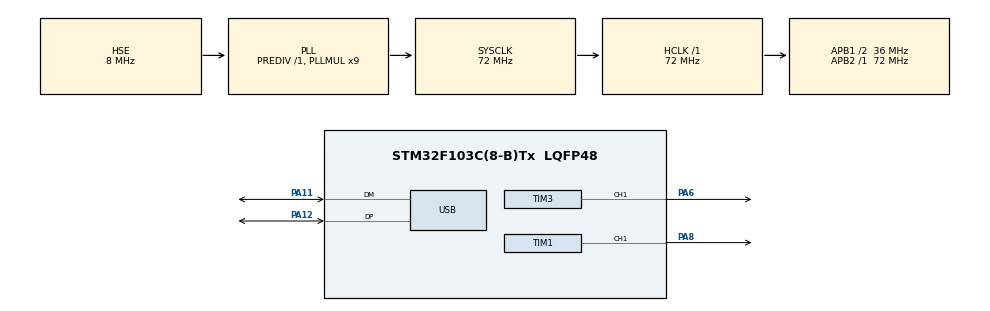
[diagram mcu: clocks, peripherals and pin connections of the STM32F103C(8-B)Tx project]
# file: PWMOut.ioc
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FREERTOS.Tasks01=defaultTask,24,128,StartDefaultTask,Default,NULL,Dynamic,NULL,NULL
Mcu.Family=STM32F1
Mcu.Name=STM32F103C(8-B)Tx
Mcu.Package=LQFP48
NVIC.PriorityGroup=NVIC_PRIORITYGROUP_4
NVIC.TIM2_IRQn=true\:0\:0\:false\:false\:true\:false\:false\:true
NVIC.TimeBase=TIM2_IRQn
NVIC.TimeBaseIP=TIM2
NVIC.USB_LP_CAN1_RX0_IRQn=true\:5\:0\:false\:false\:true\:true\:false\:true
PA11.Mode=Device
PA11.Signal=USB_DM
PA12.Mode=Device
PA12.Signal=USB_DP
PA13.Mode=Serial_Wire
PA13.Signal=SYS_JTMS-SWDIO
PA14.Mode=Serial_Wire
PA14.Signal=SYS_JTCK-SWCLK
PA6.Signal=S_TIM3_CH1
PA8.Signal=S_TIM1_CH1
PD0-OSC_IN.Mode=HSE-External-Oscillator
PD0-OSC_IN.Signal=RCC_OSC_IN
PD1-OSC_OUT.Mode=HSE-External-Oscillator
PD1-OSC_OUT.Signal=RCC_OSC_OUT
ProjectManager.HeapSize=0x200
ProjectManager.StackSize=0x400
ProjectManager.TargetToolchain=Makefile
RCC.AHBFreq_Value=72000000
RCC.APB1CLKDivider=RCC_HCLK_DIV2
RCC.APB1Freq_Value=36000000
RCC.APB1TimFreq_Value=72000000
RCC.APB2Freq_Value=72000000
RCC.APB2TimFreq_Value=72000000
RCC.HCLKFreq_Value=72000000
RCC.PLLMUL=RCC_PLL_MUL9
RCC.PLLSourceVirtual=RCC_PLLSOURCE_HSE
RCC.SYSCLKFreq_VALUE=72000000
RCC.SYSCLKSource=RCC_SYSCLKSOURCE_PLLCLK
RCC.USBFreq_Value=48000000
RCC.USBPrescaler=RCC_USBCLKSOURCE_PLL_DIV1_5
SH.S_TIM1_CH1.0=TIM1_CH1,PWM Generation1 CH1
SH.S_TIM3_CH1.0=TIM3_CH1,PWM Generation1 CH1
TIM1.Channel-PWM\ Generation1\ CH1=TIM_CHANNEL_1
TIM1.Period=80
TIM1.Prescaler=0
TIM1.Pulse-PWM\ Generation1\ CH1=27
TIM3.Channel-PWM\ Generation1\ CH1=TIM_CHANNEL_1
USB_DEVICE.CLASS_NAME_FS=CDC
USB_DEVICE.VirtualMode=Cdc
USB_DEVICE.VirtualModeFS=Cdc_FS
VP_FREERTOS_VS_CMSIS_V2.Mode=CMSIS_V2
VP_SYS_VS_tim2.Mode=TIM2
VP_TIM1_VS_ClockSourceINT.Mode=Internal
VP_TIM3_VS_ClockSourceINT.Mode=Internal
VP_USB_DEVICE_VS_USB_DEVICE_CDC_FS.Mode=CDC_FS
board=custom

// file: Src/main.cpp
/* USER CODE BEGIN Header */
/**
  ******************************************************************************
  * @file           : main.c
  * @brief          : Main program body
  ******************************************************************************
  * @attention
  *
  * <h2><center>&copy; Copyright (c) 2020 STMicroelectronics.
  * All rights reserved.</center></h2>
  *
  * This software component is licensed by ST under Ultimate Liberty license
  * SLA0044, the "License"; You may not use this file except in compliance with
  * the License. You may obtain a copy of the License at:
  *                             www.st.com/SLA0044
  *
  ******************************************************************************
  */
/* USER CODE END Header */

#include "main.h"
#include "cmsis_os.h"
#include "usb_device.h"

/* USER CODE BEGIN Includes */
#include "usbd_cdc_if.h"
#include "PWMTimer.hpp"
#include "Util.hpp"
#include "Commands.hpp"
/* USER CODE END Includes */

TIM_HandleTypeDef htim1;
TIM_HandleTypeDef htim3;

/* Definitions for defaultTask */
osThreadId_t defaultTaskHandle;
/* USER CODE BEGIN PV */
StaticStreamBuffer_t USBRxBuffer;
StreamBufferHandle_t USBRxBufferHandle;
static uint8_t RXStorage[64];
/* USER CODE END PV */

void SystemClock_Config(void);
static void MX_GPIO_Init(void);
static void MX_TIM1_Init(void);
static void MX_TIM3_Init(void);
void StartDefaultTask(void *argument);

int main(void)
{

  /* MCU Configuration--------------------------------------------------------*/

  /* Reset of all peripherals, Initializes the Flash interface and the Systick. */
  HAL_Init();

  /* Configure the system clock */
  SystemClock_Config();

  /* Initialize all configured peripherals */
  MX_GPIO_Init();
  MX_TIM1_Init();
  MX_TIM3_Init();
  /* Init scheduler */
  osKernelInitialize();

  /* USER CODE BEGIN RTOS_QUEUES */
    USBRxBufferHandle = xStreamBufferCreateStatic(sizeof(RXStorage), 1, RXStorage, &USBRxBuffer);
  /* USER CODE END RTOS_QUEUES */

  /* Create the thread(s) */
  /* definition and creation of defaultTask */
  osThreadAttr_t defaultTask_attributes = {};
  defaultTask_attributes.name = "defaultTask";
  defaultTask_attributes.stack_size = 512;
  defaultTask_attributes.priority = (osPriority_t) osPriorityNormal;

  defaultTaskHandle = osThreadNew(StartDefaultTask, NULL, &defaultTask_attributes);

  /* Start scheduler */
  osKernelStart();

  /* We should never get here as control is now taken by the scheduler */

  /* Infinite loop */
  while (1)
  {

  }
}

void SystemClock_Config(void)
{
  RCC_OscInitTypeDef RCC_OscInitStruct = {0};
  RCC_ClkInitTypeDef RCC_ClkInitStruct = {0};
  RCC_PeriphCLKInitTypeDef PeriphClkInit = {0};

  /** Initializes the CPU, AHB and APB busses clocks
  */
  RCC_OscInitStruct.OscillatorType = RCC_OSCILLATORTYPE_HSE;
  RCC_OscInitStruct.HSEState = RCC_HSE_ON;
  RCC_OscInitStruct.HSEPredivValue = RCC_HSE_PREDIV_DIV1;
  RCC_OscInitStruct.HSIState = RCC_HSI_ON;
  RCC_OscInitStruct.PLL.PLLState = RCC_PLL_ON;
  RCC_OscInitStruct.PLL.PLLSource = RCC_PLLSOURCE_HSE;
  RCC_OscInitStruct.PLL.PLLMUL = RCC_PLL_MUL9;
  if (HAL_RCC_OscConfig(&RCC_OscInitStruct) != HAL_OK)
  {
    Error_Handler();
  }
  /** Initializes the CPU, AHB and APB busses clocks
  */
  RCC_ClkInitStruct.ClockType = RCC_CLOCKTYPE_HCLK|RCC_CLOCKTYPE_SYSCLK
                              |RCC_CLOCKTYPE_PCLK1|RCC_CLOCKTYPE_PCLK2;
  RCC_ClkInitStruct.SYSCLKSource = RCC_SYSCLKSOURCE_PLLCLK;
  RCC_ClkInitStruct.AHBCLKDivider = RCC_SYSCLK_DIV1;
  RCC_ClkInitStruct.APB1CLKDivider = RCC_HCLK_DIV2;
  RCC_ClkInitStruct.APB2CLKDivider = RCC_HCLK_DIV1;

  if (HAL_RCC_ClockConfig(&RCC_ClkInitStruct, FLASH_LATENCY_2) != HAL_OK)
  {
    Error_Handler();
  }
  PeriphClkInit.PeriphClockSelection = RCC_PERIPHCLK_USB;
  PeriphClkInit.UsbClockSelection = RCC_USBCLKSOURCE_PLL_DIV1_5;
  if (HAL_RCCEx_PeriphCLKConfig(&PeriphClkInit) != HAL_OK)
  {
    Error_Handler();
  }
}

static void MX_TIM1_Init(void)
{

  TIM_ClockConfigTypeDef sClockSourceConfig = {0};
  TIM_MasterConfigTypeDef sMasterConfig = {0};
  TIM_OC_InitTypeDef sConfigOC = {0};
  TIM_BreakDeadTimeConfigTypeDef sBreakDeadTimeConfig = {0};

  htim1.Instance = TIM1;
  htim1.Init.Prescaler = 0;
  htim1.Init.CounterMode = TIM_COUNTERMODE_UP;
  htim1.Init.Period = 80;
  htim1.Init.ClockDivision = TIM_CLOCKDIVISION_DIV1;
  htim1.Init.RepetitionCounter = 0;
  htim1.Init.AutoReloadPreload = TIM_AUTORELOAD_PRELOAD_DISABLE;
  if (HAL_TIM_Base_Init(&htim1) != HAL_OK)
  {
    Error_Handler();
  }
  sClockSourceConfig.ClockSource = TIM_CLOCKSOURCE_INTERNAL;
  if (HAL_TIM_ConfigClockSource(&htim1, &sClockSourceConfig) != HAL_OK)
  {
    Error_Handler();
  }
  if (HAL_TIM_PWM_Init(&htim1) != HAL_OK)
  {
    Error_Handler();
  }
  sMasterConfig.MasterOutputTrigger = TIM_TRGO_RESET;
  sMasterConfig.MasterSlaveMode = TIM_MASTERSLAVEMODE_DISABLE;
  if (HAL_TIMEx_MasterConfigSynchronization(&htim1, &sMasterConfig) != HAL_OK)
  {
    Error_Handler();
  }
  sConfigOC.OCMode = TIM_OCMODE_PWM1;
  sConfigOC.Pulse = 27;
  sConfigOC.OCPolarity = TIM_OCPOLARITY_HIGH;
  sConfigOC.OCNPolarity = TIM_OCNPOLARITY_HIGH;
  sConfigOC.OCFastMode = TIM_OCFAST_DISABLE;
  sConfigOC.OCIdleState = TIM_OCIDLESTATE_RESET;
  sConfigOC.OCNIdleState = TIM_OCNIDLESTATE_RESET;
  if (HAL_TIM_PWM_ConfigChannel(&htim1, &sConfigOC, TIM_CHANNEL_1) != HAL_OK)
  {
    Error_Handler();
  }
  sBreakDeadTimeConfig.OffStateRunMode = TIM_OSSR_DISABLE;
  sBreakDeadTimeConfig.OffStateIDLEMode = TIM_OSSI_DISABLE;
  sBreakDeadTimeConfig.LockLevel = TIM_LOCKLEVEL_OFF;
  sBreakDeadTimeConfig.DeadTime = 0;
  sBreakDeadTimeConfig.BreakState = TIM_BREAK_DISABLE;
  sBreakDeadTimeConfig.BreakPolarity = TIM_BREAKPOLARITY_HIGH;
  sBreakDeadTimeConfig.AutomaticOutput = TIM_AUTOMATICOUTPUT_DISABLE;
  if (HAL_TIMEx_ConfigBreakDeadTime(&htim1, &sBreakDeadTimeConfig) != HAL_OK)
  {
    Error_Handler();
  }
  HAL_TIM_MspPostInit(&htim1);

}

static void MX_TIM3_Init(void)
{

  TIM_ClockConfigTypeDef sClockSourceConfig = {0};
  TIM_MasterConfigTypeDef sMasterConfig = {0};
  TIM_OC_InitTypeDef sConfigOC = {0};

  htim3.Instance = TIM3;
  htim3.Init.Prescaler = 0;
  htim3.Init.CounterMode = TIM_COUNTERMODE_UP;
  htim3.Init.Period = 0;
  htim3.Init.ClockDivision = TIM_CLOCKDIVISION_DIV1;
  htim3.Init.AutoReloadPreload = TIM_AUTORELOAD_PRELOAD_DISABLE;
  if (HAL_TIM_Base_Init(&htim3) != HAL_OK)
  {
    Error_Handler();
  }
  sClockSourceConfig.ClockSource = TIM_CLOCKSOURCE_INTERNAL;
  if (HAL_TIM_ConfigClockSource(&htim3, &sClockSourceConfig) != HAL_OK)
  {
    Error_Handler();
  }
  if (HAL_TIM_PWM_Init(&htim3) != HAL_OK)
  {
    Error_Handler();
  }
  sMasterConfig.MasterOutputTrigger = TIM_TRGO_RESET;
  sMasterConfig.MasterSlaveMode = TIM_MASTERSLAVEMODE_DISABLE;
  if (HAL_TIMEx_MasterConfigSynchronization(&htim3, &sMasterConfig) != HAL_OK)
  {
    Error_Handler();
  }
  sConfigOC.OCMode = TIM_OCMODE_PWM1;
  sConfigOC.Pulse = 0;
  sConfigOC.OCPolarity = TIM_OCPOLARITY_HIGH;
  sConfigOC.OCFastMode = TIM_OCFAST_DISABLE;
  if (HAL_TIM_PWM_ConfigChannel(&htim3, &sConfigOC, TIM_CHANNEL_1) != HAL_OK)
  {
    Error_Handler();
  }
  HAL_TIM_MspPostInit(&htim3);

}

static void MX_GPIO_Init(void)
{

  /* GPIO Ports Clock Enable */
  __HAL_RCC_GPIOD_CLK_ENABLE();
  __HAL_RCC_GPIOA_CLK_ENABLE();

}

/* USER CODE BEGIN 4 */

void usbPrepare() {
    /* init code for USB_DEVICE */
    GPIO_InitTypeDef GPIO_InitStruct;
    GPIO_InitStruct.Pin = GPIO_PIN_12;
    GPIO_InitStruct.Mode = GPIO_MODE_OUTPUT_PP;
    GPIO_InitStruct.Pull = GPIO_NOPULL;
    GPIO_InitStruct.Speed = GPIO_SPEED_FREQ_LOW;
    HAL_GPIO_Init(GPIOA, &GPIO_InitStruct);
    HAL_GPIO_WritePin(GPIOA, GPIO_PIN_12, GPIO_PIN_SET);
    HAL_Delay(500);
    HAL_GPIO_WritePin(GPIOA, GPIO_PIN_12, GPIO_PIN_RESET);
    HAL_Delay(500);
    /* init code for USB_DEVICE */
}

/* USER CODE END 4 */

/* USER CODE BEGIN Header_StartDefaultTask */
/**
  * @brief  Function implementing the defaultTask thread.
  * @param  argument: Not used
  * @retval None
  */
#pragma clang diagnostic push
#pragma clang diagnostic ignored "-Wmissing-noreturn"
const char* okMSG = "OK\n";

StartCommand startCmd{"start", sizeof("start")-1};
StopCommand stopCmd{"stop", sizeof("stop")-1};
DutyCommand dutyCmd{"duty", sizeof("duty")-1};
PeriodCommand periodCmd{"period", sizeof("period")-1};
CompareCommand compareCmd{"compare", sizeof("compare")-1};
PrescalerCommand prescalerCmd{"prescaler", sizeof("prescaler")-1};
HelpCommand helpCmd{"help", sizeof("help")-1};
StatusCommand statusCmd{"status", sizeof("status")-1};

CommandBase* cmds[] = {
        &startCmd,
        &stopCmd,
        &dutyCmd,
        &periodCmd,
        &compareCmd,
        &prescalerCmd,
        &helpCmd,
        &statusCmd};

/* USER CODE END Header_StartDefaultTask */
void StartDefaultTask(void *argument)
{
  /* init code for USB_DEVICE */
  usbPrepare();
  MX_USB_DEVICE_Init();
  /* USER CODE BEGIN 5 */
    uint8_t command[64];
    uint8_t rxSize;

    PWMTimer _Timer1(htim1);
    PWMTimer _Timer2(htim3);

  for(;;)
  {
      // :: Wait for new data
      rxSize = xStreamBufferReceive(USBRxBufferHandle, command, 64, portMAX_DELAY);

      // :: make string editable
      uint8_t* commandPtr = command;

      // :: transmit OK message
      CDC_Transmit_FS((uint8_t*)okMSG, 3);

      // :: select the correct timer
      PWMTimer* _pTimer = nullptr;
      if(0 == strncmp((char*)"t1:", (char*)commandPtr, 3)) {
          _pTimer = &_Timer1;
          commandPtr += 3;
      } else if(0 == strncmp((char*)"t2:", (char*)commandPtr, 3)) {
          _pTimer = &_Timer2;
          commandPtr += 3;
      }

      for(auto cmd : cmds) {
          uint8_t cmdLen = 0;
          if(0 < (cmdLen = cmd->IsCommand((char*)commandPtr))) {
              cmd->RunCommand(_pTimer, (char*)(commandPtr), rxSize - 3);
              break;
          }
      }

      osDelay(1);
  }
  /* USER CODE END 5 */
}

void HAL_TIM_PeriodElapsedCallback(TIM_HandleTypeDef *htim)
{
  if (htim->Instance == TIM2) {
    HAL_IncTick();
  }
}

void Error_Handler(void)
{
}

/************************ (C) COPYRIGHT STMicroelectronics *****END OF FILE****/
